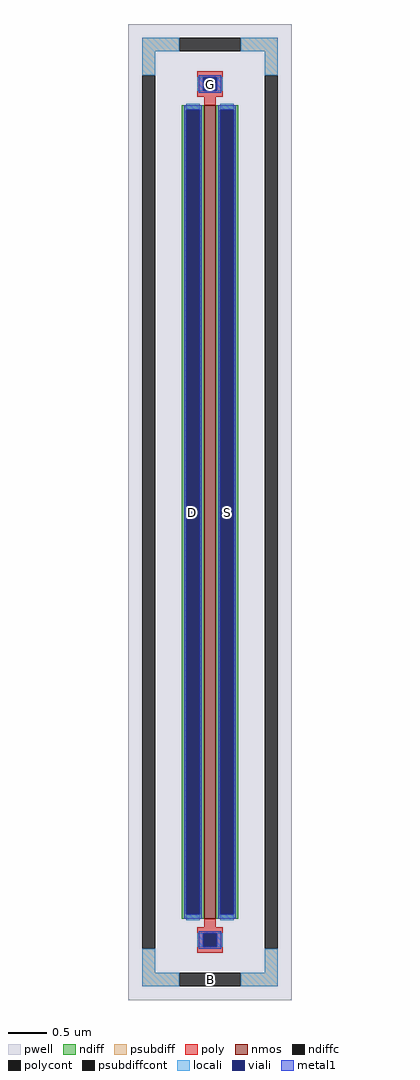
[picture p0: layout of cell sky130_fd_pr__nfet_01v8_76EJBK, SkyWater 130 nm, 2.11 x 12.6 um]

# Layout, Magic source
magic
tech sky130A
magscale 1 2
<< pwell >>
rect -211 -1260 211 1260
<< nmos >>
rect -15 -1050 15 1050
<< ndiff >>
rect -73 1038 -15 1050
rect -73 -1038 -61 1038
rect -27 -1038 -15 1038
rect -73 -1050 -15 -1038
rect 15 1038 73 1050
rect 15 -1038 27 1038
rect 61 -1038 73 1038
rect 15 -1050 73 -1038
<< ndiffc >>
rect -61 -1038 -27 1038
rect 27 -1038 61 1038
<< psubdiff >>
rect -175 1190 -79 1224
rect 79 1190 175 1224
rect -175 1128 -141 1190
rect 141 1128 175 1190
rect -175 -1190 -141 -1128
rect 141 -1190 175 -1128
rect -175 -1224 -79 -1190
rect 79 -1224 175 -1190
<< psubdiffcont >>
rect -79 1190 79 1224
rect -175 -1128 -141 1128
rect 141 -1128 175 1128
rect -79 -1224 79 -1190
<< poly >>
rect -33 1122 33 1138
rect -33 1088 -17 1122
rect 17 1088 33 1122
rect -33 1072 33 1088
rect -15 1050 15 1072
rect -15 -1072 15 -1050
rect -33 -1088 33 -1072
rect -33 -1122 -17 -1088
rect 17 -1122 33 -1088
rect -33 -1138 33 -1122
<< polycont >>
rect -17 1088 17 1122
rect -17 -1122 17 -1088
<< locali >>
rect -175 1190 -79 1224
rect 79 1190 175 1224
rect -175 1128 -141 1190
rect 141 1128 175 1190
rect -33 1088 -17 1122
rect 17 1088 33 1122
rect -61 1038 -27 1054
rect -61 -1054 -27 -1038
rect 27 1038 61 1054
rect 27 -1054 61 -1038
rect -33 -1122 -17 -1088
rect 17 -1122 33 -1088
rect -175 -1190 -141 -1128
rect 141 -1190 175 -1128
rect -175 -1224 -79 -1190
rect 79 -1224 175 -1190
<< viali >>
rect -17 1088 17 1122
rect -61 -1038 -27 1038
rect 27 -1038 61 1038
rect -17 -1122 17 -1088
<< metal1 >>
rect -29 1122 29 1128
rect -29 1088 -17 1122
rect 17 1088 29 1122
rect -29 1082 29 1088
rect -67 1038 -21 1050
rect -67 -1038 -61 1038
rect -27 -1038 -21 1038
rect -67 -1050 -21 -1038
rect 21 1038 67 1050
rect 21 -1038 27 1038
rect 61 -1038 67 1038
rect 21 -1050 67 -1038
rect -29 -1088 29 -1082
rect -29 -1122 -17 -1088
rect 17 -1122 29 -1088
rect -29 -1128 29 -1122
<< labels >>
rlabel psubdiffcont 0 -1207 0 -1207 0 B
port 61 nsew
rlabel ndiffc -44 0 -44 0 0 D
port 62 nsew
rlabel ndiffc 44 0 44 0 0 S
port 63 nsew
rlabel polycont 0 1105 0 1105 0 G
port 64 nsew
<< properties >>
string FIXED_BBOX -158 -1207 158 1207
string gencell sky130_fd_pr__nfet_01v8
string library sky130
string parameters w 10.5 l 0.15 m 1 nf 1 diffcov 100 polycov 100 guard 1 glc 1 grc 1 gtc 1 gbc 1 tbcov 100 rlcov 100 topc 1 botc 1 poverlap 0 doverlap 1 lmin 0.15 wmin 0.42 class mosfet compatible {sky130_fd_pr__nfet_01v8 sky130_fd_pr__nfet_01v8_lvt  sky130_fd_bs_flash__special_sonosfet_star  sky130_fd_pr__nfet_g5v0d10v5 sky130_fd_pr__nfet_05v0_nvt  sky130_fd_pr__nfet_03v3_nvt} full_metal 1 viasrc 100 viadrn 100 viagate 100 viagb 0 viagr 0 viagl 0 viagt 0 doports 1
<< end >>
